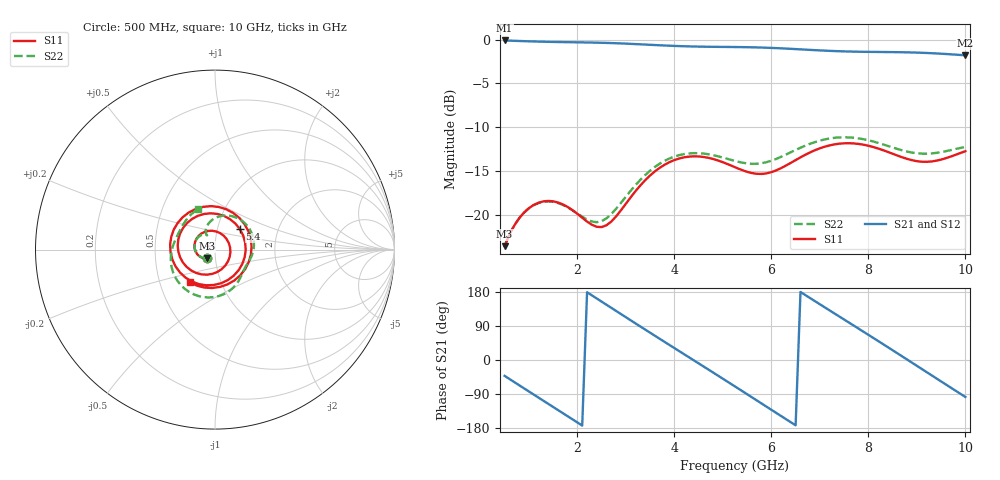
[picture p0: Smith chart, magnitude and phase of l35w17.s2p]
! Touchstone file exported from HFSS 3D Layout Design 2026.1.0
!  File:  D:/Work/ADS/HFSS_VERDICT/hfss_sma_connector_cpw.aedt
!  Generated:  02:35:33 PM Aug  6, 2026
!  Design:  SINGLE_END_SMA_CPW_30MM
!  Project:  hfss_sma_connector_cpw
! Variables:
!  $sma_Base_D = 6.25mm
!  $sma_Base_L = 8mm
!  $sma_Feet_L = 4mm
!  $sma_Feet_W = 1mm
!  $sma_Front_L = 1.5mm
!  $sma_Front_W = 6.5mm
!  $sma_Hole_D = 1.25mm
!  $sma_PTFE_D = 4.2mm
!  $sma_Pin_D = 0.95mm
!  $sma_Pin_P = 1.7mm
# GHz S MA R 50.000000
! Terminal data exported
! Port[1] = Port1
! Port[2] = S1_1_Pin_T1
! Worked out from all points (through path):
!   96 points, 500 MHz to 10 GHz, reference 50 ohm
!   highest |S21| = -0.11 dB at 500 MHz (marker M1); lowest = -1.8 dB at 10 GHz (marker M2)
!   group delay of S21, straight-line fit = 226 ps
!   lowest |S11| = -23.6 dB at 500 MHz (marker M3), VSWR 1.14, Z = 45.6 - j4.48 ohm
!   |S11| at or under -10 dB: start of sweep to end of sweep
!   |S22| runs from -23.6 to -11.2 dB; largest |S21 - S12| = 4.4e-14
!   S11 on the Smith chart (normalised r, x): 500 MHz: 0.91, -0.09; 5.4 GHz: 1.28, +0.30; 10 GHz: 0.71, -0.27
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0.5  0.06596 -132.1  0.9879 -41.8  0.9879 -41.8  0.06626 -133.7
0.9  0.1026 -165.9  0.9788 -74.8  0.9788 -74.8  0.1026 -167.0
1.3  0.1189 159.1  0.9715 -107.5  0.9715 -107.5  0.1182 162.6
1.7  0.1143 120.3  0.9667 -140.2  0.9667 -140.2  0.1135 137.0
2.1  0.09587 72.4  0.963 -173.0  0.963 -173.0  0.09718 121.1
2.5  0.0848 8.3  0.958 154.1  0.958 154.1  0.09165 119.5
3  0.1153 -71.5  0.9474 112.9  0.9474 112.9  0.1265 113.3
3.7  0.1851 -148.7  0.9272 55.8  0.9272 55.8  0.1954 76.0
4.1  0.2091 173.8  0.9173 23.4  0.9173 23.4  0.2185 49.8
4.5  0.2147 136.4  0.9111 -8.9  0.9111 -8.9  0.2241 24.1
5.3  0.1839 51.4  0.9057 -73.9  0.9057 -73.9  0.2008 -17.9
5.4  0.1793 39.1  0.9049 -82.1  0.9049 -82.1  0.1979 -21.8
5.8  0.1707 -13.8  0.8997 -115.0  0.8997 -115.0  0.1965 -35.4
6.2  0.1842 -67.3  0.8907 -147.8  0.8907 -147.8  0.2137 -49.8
6.9  0.2331 -147.0  0.8696 155.2  0.8696 155.2  0.2595 -85.1
7.3  0.2517 173.4  0.8594 122.9  0.8594 122.9  0.2744 -109.2
7.7  0.2549 134.9  0.8528 90.7  0.8528 90.7  0.2746 -133.8
8.1  0.2431 95.2  0.8496 58.3  0.8496 58.3  0.2614 -157.3
8.5  0.2225 52.3  0.8474 25.7  0.8474 25.7  0.2416 -178.3
9.1  0.2004 -20.5  0.84 -23.6  0.84 -23.6  0.2228 155.8
9.6  0.21 -82.6  0.8266 -64.8  0.8266 -64.8  0.2302 134.1
10  0.2301 -127.6  0.8123 -97.6  0.8123 -97.6  0.2434 113.1
